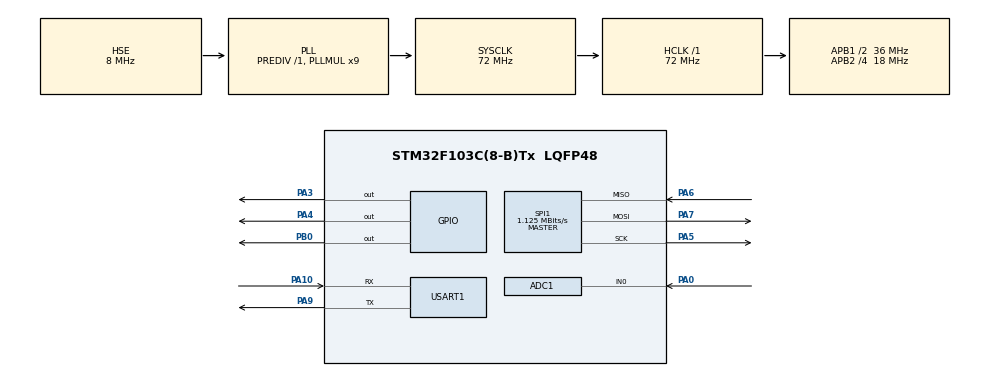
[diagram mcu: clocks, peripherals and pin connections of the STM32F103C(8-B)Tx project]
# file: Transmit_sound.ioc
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ADC1.Channel-0\#ChannelRegularConversion=ADC_CHANNEL_0
ADC1.ContinuousConvMode=ENABLE
ADC1.NbrOfConversion=1
ADC1.NbrOfConversionFlag=1
ADC1.Rank-0\#ChannelRegularConversion=1
ADC1.SamplingTime-0\#ChannelRegularConversion=ADC_SAMPLETIME_239CYCLES_5
ADC1.master=1
Mcu.Family=STM32F1
Mcu.Name=STM32F103C(8-B)Tx
Mcu.Package=LQFP48
NVIC.ADC1_2_IRQn=true\:1\:0\:true\:false\:true\:true\:true
NVIC.PriorityGroup=NVIC_PRIORITYGROUP_4
PA0-WKUP.Signal=ADCx_IN0
PA10.Mode=Asynchronous
PA10.Signal=USART1_RX
PA13.Mode=Serial_Wire
PA13.Signal=SYS_JTMS-SWDIO
PA14.Mode=Serial_Wire
PA14.Signal=SYS_JTCK-SWCLK
PA3.Signal=GPIO_Output
PA4.Signal=GPIO_Output
PA5.Mode=Full_Duplex_Master
PA5.Signal=SPI1_SCK
PA6.Mode=Full_Duplex_Master
PA6.Signal=SPI1_MISO
PA7.Mode=Full_Duplex_Master
PA7.Signal=SPI1_MOSI
PA9.Mode=Asynchronous
PA9.Signal=USART1_TX
PB0.Signal=GPIO_Output
PD0-OSC_IN.Mode=HSE-External-Oscillator
PD0-OSC_IN.Signal=RCC_OSC_IN
PD1-OSC_OUT.Mode=HSE-External-Oscillator
PD1-OSC_OUT.Signal=RCC_OSC_OUT
ProjectManager.HeapSize=0x200
ProjectManager.StackSize=0x400
ProjectManager.TargetToolchain=STM32CubeIDE
RCC.ADCPresc=RCC_ADCPCLK2_DIV8
RCC.AHBFreq_Value=72000000
RCC.APB1CLKDivider=RCC_HCLK_DIV2
RCC.APB1Freq_Value=36000000
RCC.APB1TimFreq_Value=72000000
RCC.APB2CLKDivider=RCC_HCLK_DIV4
RCC.APB2Freq_Value=18000000
RCC.APB2TimFreq_Value=36000000
RCC.HCLKFreq_Value=72000000
RCC.PLLMUL=RCC_PLL_MUL9
RCC.PLLSourceVirtual=RCC_PLLSOURCE_HSE
RCC.SYSCLKFreq_VALUE=72000000
RCC.SYSCLKSource=RCC_SYSCLKSOURCE_PLLCLK
RCC.USBFreq_Value=72000000
SH.ADCx_IN0.0=ADC1_IN0,IN0
SPI1.BaudRatePrescaler=SPI_BAUDRATEPRESCALER_16
SPI1.CalculateBaudRate=1.125 MBits/s
SPI1.Direction=SPI_DIRECTION_2LINES
SPI1.Mode=SPI_MODE_MASTER
SPI1.VirtualType=VM_MASTER
USART1.VirtualMode=VM_ASYNC
board=custom

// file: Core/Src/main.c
/* USER CODE BEGIN Header */
/**
  ******************************************************************************
  * @file           : main.c
  * @brief          : Main program body
  ******************************************************************************
  * @attention
  *
  * <h2><center>&copy; Copyright (c) 2019 STMicroelectronics.
  * All rights reserved.</center></h2>
  *
  * This software component is licensed by ST under BSD 3-Clause license,
  * the "License"; You may not use this file except in compliance with the
  * License. You may obtain a copy of the License at:
  *                        opensource.org/licenses/BSD-3-Clause
  *
  ******************************************************************************
  */
/* USER CODE END Header */

#include "main.h"

/* USER CODE BEGIN Includes */
#include "nrf24_hal.h"
#include "nrf24.h"
/* USER CODE END Includes */

ADC_HandleTypeDef hadc1;

SPI_HandleTypeDef hspi1;

UART_HandleTypeDef huart1;

/* USER CODE BEGIN PV */
uint8_t adc_buffer[5];
const uint16_t sine_wave_array[32] = {2047, 1648, 1264, 910, 600,  345,
                   156, 39,  0,  39,  156,  345,
                   600, 910, 1264, 1648, 2048, 2447,
                   2831, 3185, 3495, 3750, 3939, 4056,
                   4095, 4056, 3939, 3750, 3495, 3185,
                   2831, 2447};
/* USER CODE END PV */

void SystemClock_Config(void);
static void MX_GPIO_Init(void);
static void MX_SPI1_Init(void);
static void MX_USART1_UART_Init(void);
static void MX_ADC1_Init(void);

/* USER CODE BEGIN 0 */
uint16_t adc_value;
uint8_t check = 0;
int i;
/* USER CODE END 0 */

int main(void)
{

  /* MCU Configuration--------------------------------------------------------*/

  /* Reset of all peripherals, Initializes the Flash interface and the Systick. */
  HAL_Init();

  /* Configure the system clock */
  SystemClock_Config();

  /* Initialize all configured peripherals */
  MX_GPIO_Init();
  MX_SPI1_Init();
  MX_USART1_UART_Init();
  MX_ADC1_Init();
  /* USER CODE BEGIN 2 */
//  if (HAL_ADC_Start_IT(&hadc1) != HAL_OK)
//  {
//    /* Start Conversation Error */
//    Error_Handler();
//  }
  uint8_t ADDR[] = { 'n', 'R', 'F', '2', '4' }; // the TX address
  nRF24_DisableAA(0xFF); // disable ShockBurst
  nRF24_SetRFChannel(14); // set RF channel to 2490MHz
  nRF24_SetDataRate(nRF24_DR_2Mbps); // 2Mbit/s data rate
//  nRF24_SetCRCScheme(nRF24_CRC_1byte); // 1-byte CRC scheme
  nRF24_SetAddrWidth(5); // address width is 5 bytes
  nRF24_SetTXPower(nRF24_TXPWR_0dBm); // configure TX power
  nRF24_SetAddr(nRF24_PIPETX, ADDR); // program TX address
  nRF24_SetOperationalMode(nRF24_MODE_TX); // switch transceiver to the TX mode
  nRF24_SetPowerMode(nRF24_PWR_UP); // wake-up transceiver (in case if it sle
    char pBuf[1000] = "abcd";
    if (HAL_ADC_Start_IT(&hadc1) != HAL_OK)
      {
        /* Start Conversation Error */
        Error_Handler();
      }
  /* USER CODE END 2 */

  /* Infinite loop */
  while (1)
  {

    /* USER CODE BEGIN 3 */

if(check){

	  adc_buffer[0] = (adc_value & (0xFF00))>>8;
	  adc_buffer[1] =  adc_value & (0x00FF);

	  nRF24_WritePayload(adc_buffer,3); // transfer payload data to transceiver
	  			  nRF24_CE_H; // assert CE pin (transmission starts)
	  			  uint8_t status = nRF24_GetStatus();
	  			  	while (status & (nRF24_FLAG_TX_DS | nRF24_FLAG_MAX_RT)) {
	  			  	  	          // transmission ended, exit loop
	  			  	  	   break;
	  			  	}

	  			  	nRF24_CE_L; // de-assert CE pin (nRF24 goes to StandBy-I mode)
	  			  	nRF24_ClearIRQFlags(); // clear any pending IRQ flags
}

	check = 0;
  }
  /* USER CODE END 3 */
}

void SystemClock_Config(void)
{
  RCC_OscInitTypeDef RCC_OscInitStruct = {0};
  RCC_ClkInitTypeDef RCC_ClkInitStruct = {0};
  RCC_PeriphCLKInitTypeDef PeriphClkInit = {0};

  /** Initializes the CPU, AHB and APB busses clocks
  */
  RCC_OscInitStruct.OscillatorType = RCC_OSCILLATORTYPE_HSE;
  RCC_OscInitStruct.HSEState = RCC_HSE_ON;
  RCC_OscInitStruct.HSEPredivValue = RCC_HSE_PREDIV_DIV1;
  RCC_OscInitStruct.HSIState = RCC_HSI_ON;
  RCC_OscInitStruct.PLL.PLLState = RCC_PLL_ON;
  RCC_OscInitStruct.PLL.PLLSource = RCC_PLLSOURCE_HSE;
  RCC_OscInitStruct.PLL.PLLMUL = RCC_PLL_MUL9;
  if (HAL_RCC_OscConfig(&RCC_OscInitStruct) != HAL_OK)
  {
    Error_Handler();
  }
  /** Initializes the CPU, AHB and APB busses clocks
  */
  RCC_ClkInitStruct.ClockType = RCC_CLOCKTYPE_HCLK|RCC_CLOCKTYPE_SYSCLK
                              |RCC_CLOCKTYPE_PCLK1|RCC_CLOCKTYPE_PCLK2;
  RCC_ClkInitStruct.SYSCLKSource = RCC_SYSCLKSOURCE_PLLCLK;
  RCC_ClkInitStruct.AHBCLKDivider = RCC_SYSCLK_DIV1;
  RCC_ClkInitStruct.APB1CLKDivider = RCC_HCLK_DIV2;
  RCC_ClkInitStruct.APB2CLKDivider = RCC_HCLK_DIV4;

  if (HAL_RCC_ClockConfig(&RCC_ClkInitStruct, FLASH_LATENCY_2) != HAL_OK)
  {
    Error_Handler();
  }
  PeriphClkInit.PeriphClockSelection = RCC_PERIPHCLK_ADC;
  PeriphClkInit.AdcClockSelection = RCC_ADCPCLK2_DIV8;
  if (HAL_RCCEx_PeriphCLKConfig(&PeriphClkInit) != HAL_OK)
  {
    Error_Handler();
  }
}

static void MX_ADC1_Init(void)
{

  ADC_ChannelConfTypeDef sConfig = {0};

  /** Common config
  */
  hadc1.Instance = ADC1;
  hadc1.Init.ScanConvMode = ADC_SCAN_DISABLE;
  hadc1.Init.ContinuousConvMode = ENABLE;
  hadc1.Init.DiscontinuousConvMode = DISABLE;
  hadc1.Init.ExternalTrigConv = ADC_SOFTWARE_START;
  hadc1.Init.DataAlign = ADC_DATAALIGN_RIGHT;
  hadc1.Init.NbrOfConversion = 1;
  if (HAL_ADC_Init(&hadc1) != HAL_OK)
  {
    Error_Handler();
  }
  /** Configure Regular Channel
  */
  sConfig.Channel = ADC_CHANNEL_0;
  sConfig.Rank = ADC_REGULAR_RANK_1;
  sConfig.SamplingTime = ADC_SAMPLETIME_239CYCLES_5;
  if (HAL_ADC_ConfigChannel(&hadc1, &sConfig) != HAL_OK)
  {
    Error_Handler();
  }

}

static void MX_SPI1_Init(void)
{

  /* SPI1 parameter configuration*/
  hspi1.Instance = SPI1;
  hspi1.Init.Mode = SPI_MODE_MASTER;
  hspi1.Init.Direction = SPI_DIRECTION_2LINES;
  hspi1.Init.DataSize = SPI_DATASIZE_8BIT;
  hspi1.Init.CLKPolarity = SPI_POLARITY_LOW;
  hspi1.Init.CLKPhase = SPI_PHASE_1EDGE;
  hspi1.Init.NSS = SPI_NSS_SOFT;
  hspi1.Init.BaudRatePrescaler = SPI_BAUDRATEPRESCALER_16;
  hspi1.Init.FirstBit = SPI_FIRSTBIT_MSB;
  hspi1.Init.TIMode = SPI_TIMODE_DISABLE;
  hspi1.Init.CRCCalculation = SPI_CRCCALCULATION_DISABLE;
  hspi1.Init.CRCPolynomial = 10;
  if (HAL_SPI_Init(&hspi1) != HAL_OK)
  {
    Error_Handler();
  }

}

static void MX_USART1_UART_Init(void)
{

  huart1.Instance = USART1;
  huart1.Init.BaudRate = 115200;
  huart1.Init.WordLength = UART_WORDLENGTH_8B;
  huart1.Init.StopBits = UART_STOPBITS_1;
  huart1.Init.Parity = UART_PARITY_NONE;
  huart1.Init.Mode = UART_MODE_TX_RX;
  huart1.Init.HwFlowCtl = UART_HWCONTROL_NONE;
  huart1.Init.OverSampling = UART_OVERSAMPLING_16;
  if (HAL_UART_Init(&huart1) != HAL_OK)
  {
    Error_Handler();
  }

}

static void MX_GPIO_Init(void)
{
  GPIO_InitTypeDef GPIO_InitStruct = {0};

  /* GPIO Ports Clock Enable */
  __HAL_RCC_GPIOD_CLK_ENABLE();
  __HAL_RCC_GPIOA_CLK_ENABLE();
  __HAL_RCC_GPIOB_CLK_ENABLE();

  /*Configure GPIO pin Output Level */
  HAL_GPIO_WritePin(GPIOA, GPIO_PIN_3|GPIO_PIN_4, GPIO_PIN_RESET);

  /*Configure GPIO pin Output Level */
  HAL_GPIO_WritePin(GPIOB, GPIO_PIN_0, GPIO_PIN_RESET);

  /*Configure GPIO pins : PA3 PA4 */
  GPIO_InitStruct.Pin = GPIO_PIN_3|GPIO_PIN_4;
  GPIO_InitStruct.Mode = GPIO_MODE_OUTPUT_PP;
  GPIO_InitStruct.Pull = GPIO_NOPULL;
  GPIO_InitStruct.Speed = GPIO_SPEED_FREQ_LOW;
  HAL_GPIO_Init(GPIOA, &GPIO_InitStruct);

  /*Configure GPIO pin : PB0 */
  GPIO_InitStruct.Pin = GPIO_PIN_0;
  GPIO_InitStruct.Mode = GPIO_MODE_OUTPUT_PP;
  GPIO_InitStruct.Pull = GPIO_NOPULL;
  GPIO_InitStruct.Speed = GPIO_SPEED_FREQ_LOW;
  HAL_GPIO_Init(GPIOB, &GPIO_InitStruct);

}

/* USER CODE BEGIN 4 */
HAL_ADC_ConvCpltCallback(ADC_HandleTypeDef* hadc){
  if(hadc ->Instance = hadc1.Instance){
	  adc_value = (uint16_t) HAL_ADC_GetValue(&hadc1);

	  check = 1;

  }
}
/* USER CODE END 4 */

void Error_Handler(void)
{
}

/************************ (C) COPYRIGHT STMicroelectronics *****END OF FILE****/
